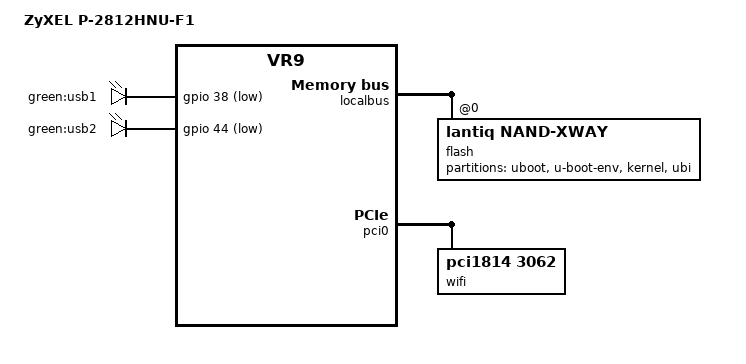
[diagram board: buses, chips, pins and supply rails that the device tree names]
#include "vr9_zyxel_p-2812hnu-fx.dtsi"

/ {
	compatible = "zyxel,p-2812hnu-f1", "zyxel,p-2812hnu", "lantiq,xway", "lantiq,vr9";
	model = "ZyXEL P-2812HNU-F1";

	leds {
		usb1 {
			label = "green:usb1";
			gpios = <&gpio 38 GPIO_ACTIVE_LOW>;
			trigger-sources = <&ehci_port1>;
			linux,default-trigger = "usbport";
		};
		usb2 {
			label = "green:usb2";
			gpios = <&gpio 44 GPIO_ACTIVE_LOW>;
			trigger-sources = <&ehci_port2>;
			linux,default-trigger = "usbport";
		};
	};
};

&localbus {
	flash@0 {
		compatible = "lantiq,nand-xway";
		lantiq,cs = <1>;
		bank-width = <2>;
		reg = <0 0x0 0x2000000>;

		pinctrl-0 = <&nand_pins>, <&nand_cs1_pins>;
		pinctrl-names = "default";

		partitions {
			compatible = "fixed-partitions";
			#address-cells = <1>;
			#size-cells = <1>;

			partition@0 {
				label = "uboot";
				reg = <0x00000 0x40000>;
			};
			partition@40000 {
				label = "u-boot-env";
				reg = <0x40000 0x20000>;
			};
			partition@60000 {
				label = "kernel";
				reg = <0x60000 0x300000>;
			};
			partition@360000 {
				label = "ubi";
				reg = <0x360000 0x7ca0000>;
			};
		};
	};
};

&pci0 {
	wifi@1814,3062 {
		compatible = "pci1814,3062";
		reg = <0x7000 0 0 0 0>;
		ralink,eeprom = "RT3062.eeprom";
	};
};

&pcie0 {
	status = "disabled";
};
